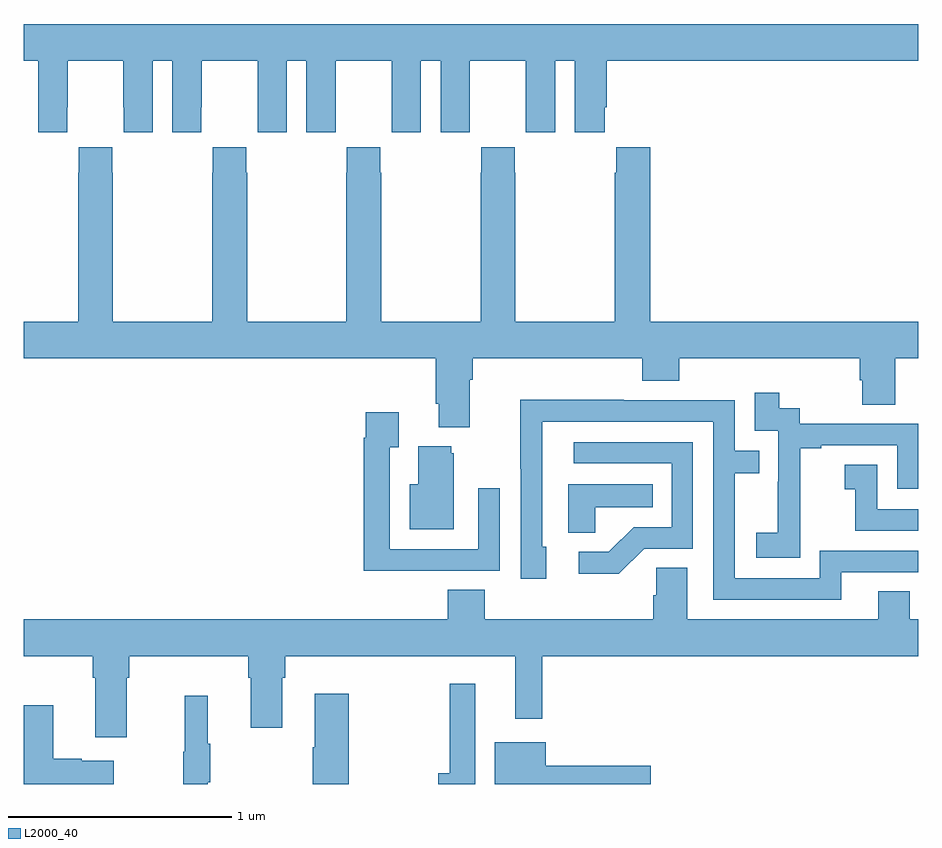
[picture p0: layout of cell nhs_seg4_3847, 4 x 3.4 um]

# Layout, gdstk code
import gdstk
lib = gdstk.Library(unit=1e-6, precision=1e-09)
def P(c, l, *ps):  # polygons
    for p in ps: c.add(gdstk.Polygon(p, *l))
L2000_40 = (2000, 40)

nhs_seg4_3847 = lib.new_cell('nhs_seg4_3847')
P(nhs_seg4_3847, L2000_40, [(313,814.136),(313.064,814.136),(313.064,813.816),(313.194,813.816),(313.194,813.928),(313.195,813.928),(313.195,814.136),(313.445,814.136),(313.445,813.928),(313.446,813.928),(313.446,813.816),(313.576,813.816),(313.576,814.136),(313.664,814.136),(313.664,813.816),(313.794,813.816),(313.794,813.928),(313.795,813.928),(313.795,814.136),(314.045,814.136),(314.045,813.928),(314.046,813.928),(314.046,813.816),(314.176,813.816),(314.176,814.136),(314.264,814.136),(314.264,813.816),(314.394,813.816),(314.394,813.928),(314.395,813.928),(314.395,814.136),(314.645,814.136),(314.645,813.928),(314.646,813.928),(314.646,813.816),(314.776,813.816),(314.776,814.136),(314.864,814.136),(314.864,813.816),(314.994,813.816),(314.994,813.928),(314.995,813.928),(314.995,814.136),(315.245,814.136),(315.245,813.928),(315.246,813.928),(315.246,813.816),(315.376,813.816),(315.376,814.136),(315.464,814.136),(315.464,813.816),(315.598,813.816),(315.598,813.928),(315.608,813.928),(315.608,814.136),(317,814.136),(317,814.3),(313,814.3)],
  [(315.803,813.748),(315.649,813.748),(315.649,813.635),(315.643,813.635),(315.643,812.968),(315.198,812.968),(315.198,813.635),(315.195,813.635),(315.195,813.748),(315.045,813.748),(315.045,813.635),(315.043,813.635),(315.043,812.968),(314.598,812.968),(314.598,813.635),(314.595,813.635),(314.595,813.748),(314.445,813.748),(314.445,813.635),(314.443,813.635),(314.443,812.968),(313.998,812.968),(313.998,813.635),(313.995,813.635),(313.995,813.748),(313.845,813.748),(313.845,813.635),(313.843,813.635),(313.843,812.968),(313.398,812.968),(313.398,813.635),(313.395,813.635),(313.395,813.748),(313.245,813.748),(313.245,813.635),(313.243,813.635),(313.243,812.968),(313,812.968),(313,812.804),(314.843,812.804),(314.843,812.602),(314.855,812.602),(314.855,812.495),(314.995,812.495),(314.995,812.708),(315.008,812.708),(315.008,812.804),(315.767,812.804),(315.767,812.705),(315.932,812.705),(315.932,812.804),(316.739,812.804),(316.739,812.706),(316.751,812.706),(316.751,812.596),(316.899,812.596),(316.899,812.804),(317,812.804),(317,812.968),(315.803,812.968)],
  [(316.473,812.119),(316.472,812.119),(316.472,812.403),(316.567,812.403),(316.567,812.415),(316.908,812.415),(316.908,812.22),(317,812.22),(317,812.511),(316.47,812.511),(316.47,812.58),(316.378,812.58),(316.378,812.65),(316.269,812.65),(316.269,812.481),(316.374,812.481),(316.374,812.252),(316.373,812.252),(316.373,812.023),(316.275,812.023),(316.275,811.913),(316.473,811.913)],
  [(316.657,811.848),(317,811.848),(317,811.944),(316.56,811.944),(316.56,811.821),(316.179,811.821),(316.179,812.29),(316.289,812.29),(316.289,812.391),(316.179,812.391),(316.179,812.616),(315.683,812.616),(315.683,812.618),(315.22,812.618),(315.22,812.311),(315.222,812.311),(315.222,811.818),(315.337,811.818),(315.337,811.962),(315.318,811.962),(315.318,812.52),(316.083,812.52),(316.083,811.725),(316.657,811.725)],
  [(314.813,811.854),(315.129,811.854),(315.129,812.224),(315.033,812.224),(315.033,811.95),(314.637,811.95),(314.637,812.407),(314.677,812.407),(314.677,812.563),(314.529,812.563),(314.529,812.45),(314.521,812.45),(314.521,811.853),(314.813,811.853)],
  [(315.774,811.953),(315.993,811.953),(315.993,812.43),(315.459,812.43),(315.459,812.334),(315.897,812.334),(315.897,812.049),(315.728,812.049),(315.617,811.938),(315.483,811.938),(315.483,811.841),(315.661,811.841)],
  [(314.923,812.379),(314.912,812.379),(314.912,812.41),(314.765,812.41),(314.765,812.242),(314.726,812.242),(314.726,812.039),(314.923,812.039)],
  [(317,812.13),(316.818,812.13),(316.818,812.329),(316.671,812.329),(316.671,812.219),(316.72,812.219),(316.72,812.034),(317,812.034)],
  [(315.555,812.138),(315.812,812.138),(315.812,812.242),(315.434,812.242),(315.434,812.023),(315.555,812.023)],
  [(313.459,811.376),(313.472,811.376),(313.472,811.472),(314.003,811.472),(314.003,811.376),(314.015,811.376),(314.015,811.152),(314.155,811.152),(314.155,811.376),(314.168,811.376),(314.168,811.472),(315.197,811.472),(315.197,811.191),(315.319,811.191),(315.319,811.472),(317,811.472),(317,811.636),(316.962,811.636),(316.962,811.763),(316.823,811.763),(316.823,811.636),(315.967,811.636),(315.967,811.868),(315.828,811.868),(315.828,811.745),(315.815,811.745),(315.815,811.636),(315.062,811.636),(315.062,811.769),(314.897,811.769),(314.897,811.636),(313,811.636),(313,811.472),(313.307,811.472),(313.307,811.376),(313.319,811.376),(313.319,811.11),(313.459,811.11)],
  [(315.019,811.348),(314.905,811.348),(314.905,810.949),(314.854,810.949),(314.854,810.9),(315.019,810.9)],
  [(314.454,811.303),(314.3,811.303),(314.3,811.064),(314.293,811.064),(314.293,810.9),(314.454,810.9)],
  [(313.823,810.907),(313.834,810.907),(313.834,811.081),(313.823,811.081),(313.823,811.294),(313.72,811.294),(313.72,811.044),(313.713,811.044),(313.713,810.9),(313.823,810.9)],
  [(313.402,811.003),(313.259,811.003),(313.259,811.013),(313.132,811.013),(313.132,811.252),(313,811.252),(313,810.9),(313.402,810.9)],
  [(315.805,810.981),(315.334,810.981),(315.334,811.087),(315.107,811.087),(315.107,810.9),(315.805,810.9)])

lib.write_gds('nhs_seg4_3847.gds')
